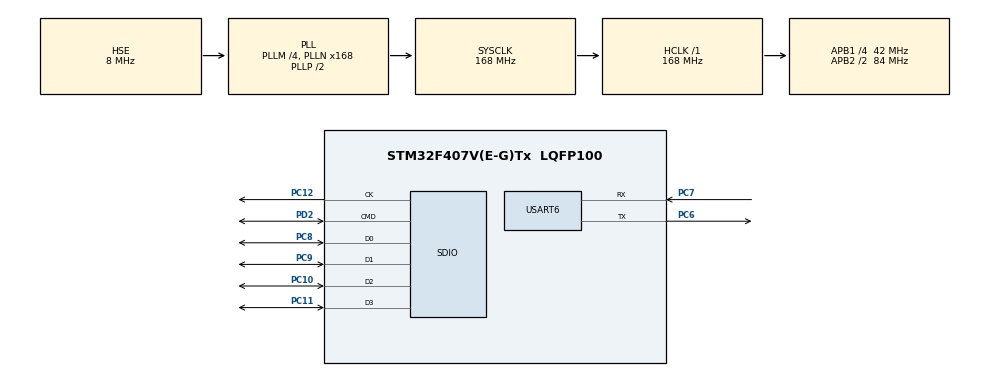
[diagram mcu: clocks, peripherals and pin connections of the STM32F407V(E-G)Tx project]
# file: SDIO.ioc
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Dma.Request0=SDIO_RX
Dma.Request1=SDIO_TX
Dma.SDIO_RX.0.Direction=DMA_PERIPH_TO_MEMORY
Dma.SDIO_RX.0.FIFOMode=DMA_FIFOMODE_ENABLE
Dma.SDIO_RX.0.FIFOThreshold=DMA_FIFO_THRESHOLD_FULL
Dma.SDIO_RX.0.Instance=DMA2_Stream3
Dma.SDIO_RX.0.MemBurst=DMA_MBURST_INC4
Dma.SDIO_RX.0.MemDataAlignment=DMA_MDATAALIGN_WORD
Dma.SDIO_RX.0.MemInc=DMA_MINC_ENABLE
Dma.SDIO_RX.0.Mode=DMA_PFCTRL
Dma.SDIO_RX.0.PeriphBurst=DMA_PBURST_INC4
Dma.SDIO_RX.0.PeriphDataAlignment=DMA_PDATAALIGN_WORD
Dma.SDIO_RX.0.PeriphInc=DMA_PINC_DISABLE
Dma.SDIO_RX.0.Priority=DMA_PRIORITY_LOW
Dma.SDIO_TX.1.Direction=DMA_MEMORY_TO_PERIPH
Dma.SDIO_TX.1.FIFOMode=DMA_FIFOMODE_ENABLE
Dma.SDIO_TX.1.FIFOThreshold=DMA_FIFO_THRESHOLD_FULL
Dma.SDIO_TX.1.Instance=DMA2_Stream6
Dma.SDIO_TX.1.MemBurst=DMA_MBURST_INC4
Dma.SDIO_TX.1.MemDataAlignment=DMA_MDATAALIGN_WORD
Dma.SDIO_TX.1.MemInc=DMA_MINC_ENABLE
Dma.SDIO_TX.1.Mode=DMA_PFCTRL
Dma.SDIO_TX.1.PeriphBurst=DMA_PBURST_INC4
Dma.SDIO_TX.1.PeriphDataAlignment=DMA_PDATAALIGN_WORD
Dma.SDIO_TX.1.PeriphInc=DMA_PINC_DISABLE
Dma.SDIO_TX.1.Priority=DMA_PRIORITY_LOW
FATFS.USE_DMA_CODE_SD=1
FATFS._MAX_SS=4096
Mcu.Family=STM32F4
Mcu.Name=STM32F407V(E-G)Tx
Mcu.Package=LQFP100
NVIC.DMA2_Stream3_IRQn=true\:0\:0\:false\:false\:true\:false\:true
NVIC.DMA2_Stream6_IRQn=true\:0\:0\:false\:false\:true\:false\:true
NVIC.PriorityGroup=NVIC_PRIORITYGROUP_4
NVIC.SDIO_IRQn=true\:0\:0\:false\:false\:true\:true\:true
NVIC.TIM8_TRG_COM_TIM14_IRQn=true\:15\:0\:false\:false\:true\:false\:true
NVIC.TimeBase=TIM8_TRG_COM_TIM14_IRQn
NVIC.TimeBaseIP=TIM14
PA13.Mode=Serial_Wire
PA13.Signal=SYS_JTMS-SWDIO
PA14.Mode=Serial_Wire
PA14.Signal=SYS_JTCK-SWCLK
PC10.GPIO_PuPd=GPIO_PULLUP
PC10.Mode=SD_4_bits_Wide_bus
PC10.Signal=SDIO_D2
PC11.GPIO_PuPd=GPIO_PULLUP
PC11.Mode=SD_4_bits_Wide_bus
PC11.Signal=SDIO_D3
PC12.GPIO_PuPd=GPIO_NOPULL
PC12.Mode=SD_4_bits_Wide_bus
PC12.Signal=SDIO_CK
PC6.Mode=Asynchronous
PC6.Signal=USART6_TX
PC7.Mode=Asynchronous
PC7.Signal=USART6_RX
PC8.GPIO_PuPd=GPIO_PULLUP
PC8.Mode=SD_4_bits_Wide_bus
PC8.Signal=SDIO_D0
PC9.GPIO_PuPd=GPIO_PULLUP
PC9.Mode=SD_4_bits_Wide_bus
PC9.Signal=SDIO_D1
PD2.GPIO_PuPd=GPIO_PULLUP
PD2.Mode=SD_4_bits_Wide_bus
PD2.Signal=SDIO_CMD
PH0-OSC_IN.Mode=HSE-External-Oscillator
PH0-OSC_IN.Signal=RCC_OSC_IN
PH1-OSC_OUT.Mode=HSE-External-Oscillator
PH1-OSC_OUT.Signal=RCC_OSC_OUT
ProjectManager.HeapSize=0x200
ProjectManager.StackSize=0x400
ProjectManager.TargetToolchain=STM32CubeIDE
RCC.48MHZClocksFreq_Value=48000000
RCC.AHBFreq_Value=168000000
RCC.APB1CLKDivider=RCC_HCLK_DIV4
RCC.APB1Freq_Value=42000000
RCC.APB1TimFreq_Value=84000000
RCC.APB2CLKDivider=RCC_HCLK_DIV2
RCC.APB2Freq_Value=84000000
RCC.APB2TimFreq_Value=168000000
RCC.CortexFreq_Value=168000000
RCC.HCLKFreq_Value=168000000
RCC.HSE_VALUE=8000000
RCC.HSI_VALUE=16000000
RCC.LSE_VALUE=32768
RCC.PLLM=4
RCC.PLLN=168
RCC.PLLQ=7
RCC.PLLSourceVirtual=RCC_PLLSOURCE_HSE
RCC.SYSCLKFreq_VALUE=168000000
RCC.SYSCLKSource=RCC_SYSCLKSOURCE_PLLCLK
RCC.VCOOutputFreq_Value=336000000
SDIO.ClockDiv=5
USART6.VirtualMode=VM_ASYNC
VP_FATFS_VS_SDIO.Mode=SDIO
VP_SYS_VS_tim14.Mode=TIM14
board=custom

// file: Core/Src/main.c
/* USER CODE BEGIN Header */
/**
 ******************************************************************************
 * @file           : main.c
 * @brief          : Main program body
 ******************************************************************************
 * @attention
 *
 * Copyright (c) 2022 STMicroelectronics.
 * All rights reserved.
 *
 * This software is licensed under terms that can be found in the LICENSE file
 * in the root directory of this software component.
 * If no LICENSE file comes with this software, it is provided AS-IS.
 *
 ******************************************************************************
 */
/* USER CODE END Header */
#include "main.h"
#include "fatfs.h"

/* USER CODE BEGIN Includes */
#include <stdio.h>/* для printf */
#include <string.h>
#include "zerg_sdio.h" /*Моя SDIO библиотека*/

char path[20] = "0:";				 // Путь к SD карте после форматирования
const char *name = "TEST.TXT";		 // Имя будущего файла
char *folder_name = "STM32";	 // Имя будущего папки
/* USER CODE END Includes */

SD_HandleTypeDef hsd;
DMA_HandleTypeDef hdma_sdio_rx;
DMA_HandleTypeDef hdma_sdio_tx;

UART_HandleTypeDef huart6;

void SystemClock_Config(void);
static void MX_GPIO_Init(void);
static void MX_DMA_Init(void);
static void MX_SDIO_SD_Init(void);
static void MX_USART6_UART_Init(void);
/* USER CODE BEGIN PFP */
int _write(int file, char *ptr, int len) {
	int i;
	HAL_UART_Transmit(&huart6, (uint8_t*) ptr, len, 50);
	for (i = 0; i < len; i++) {
		ITM_SendChar(*ptr++);
	}
	return len;
}
/* USER CODE END PFP */

int main(void)
{

  /* MCU Configuration--------------------------------------------------------*/

  /* Reset of all peripherals, Initializes the Flash interface and the Systick. */
  HAL_Init();

  /* Configure the system clock */
  SystemClock_Config();

  /* Initialize all configured peripherals */
  MX_GPIO_Init();
  MX_DMA_Init();
  MX_SDIO_SD_Init();
  MX_FATFS_Init();
  MX_USART6_UART_Init();

  /* Infinite loop */
  /* USER CODE BEGIN WHILE */
	 zerg_mount();
	 zerg_format();
	 zerg_creat_folder(folder_name);
	 zerg_open();
	 zerg_write();
	 zerg_read();

	 for (int i=0;i<=10;i++){
	 zerg_add_data();
	 }
	 zerg_read();
	 zerg_get_free_space(); // Узнаем свободное место до удаления
	 //zerg_scan_files(path);    // НЕ ВИДИТ ФАЙЛЫ!!!, РАЗБЕРИСЬ!!!
	 //zerg_delete(folder_name); // Удаляем папку "folder_name" или файл "name"
	 zerg_get_free_space(); // Узнаем свободное место после удаления
	 zerg_get_file_info(name);
	 zerg_ummount(path);

	while (1) {

    /* USER CODE END WHILE */

	}
}

void SystemClock_Config(void)
{
  RCC_OscInitTypeDef RCC_OscInitStruct = {0};
  RCC_ClkInitTypeDef RCC_ClkInitStruct = {0};

  /** Configure the main internal regulator output voltage
  */
  __HAL_RCC_PWR_CLK_ENABLE();
  __HAL_PWR_VOLTAGESCALING_CONFIG(PWR_REGULATOR_VOLTAGE_SCALE1);
  /** Initializes the RCC Oscillators according to the specified parameters
  * in the RCC_OscInitTypeDef structure.
  */
  RCC_OscInitStruct.OscillatorType = RCC_OSCILLATORTYPE_HSE;
  RCC_OscInitStruct.HSEState = RCC_HSE_ON;
  RCC_OscInitStruct.PLL.PLLState = RCC_PLL_ON;
  RCC_OscInitStruct.PLL.PLLSource = RCC_PLLSOURCE_HSE;
  RCC_OscInitStruct.PLL.PLLM = 4;
  RCC_OscInitStruct.PLL.PLLN = 168;
  RCC_OscInitStruct.PLL.PLLP = RCC_PLLP_DIV2;
  RCC_OscInitStruct.PLL.PLLQ = 7;
  if (HAL_RCC_OscConfig(&RCC_OscInitStruct) != HAL_OK)
  {
    Error_Handler();
  }
  /** Initializes the CPU, AHB and APB buses clocks
  */
  RCC_ClkInitStruct.ClockType = RCC_CLOCKTYPE_HCLK|RCC_CLOCKTYPE_SYSCLK
                              |RCC_CLOCKTYPE_PCLK1|RCC_CLOCKTYPE_PCLK2;
  RCC_ClkInitStruct.SYSCLKSource = RCC_SYSCLKSOURCE_PLLCLK;
  RCC_ClkInitStruct.AHBCLKDivider = RCC_SYSCLK_DIV1;
  RCC_ClkInitStruct.APB1CLKDivider = RCC_HCLK_DIV4;
  RCC_ClkInitStruct.APB2CLKDivider = RCC_HCLK_DIV2;

  if (HAL_RCC_ClockConfig(&RCC_ClkInitStruct, FLASH_LATENCY_5) != HAL_OK)
  {
    Error_Handler();
  }
}

static void MX_SDIO_SD_Init(void)
{

  hsd.Instance = SDIO;
  hsd.Init.ClockEdge = SDIO_CLOCK_EDGE_RISING;
  hsd.Init.ClockBypass = SDIO_CLOCK_BYPASS_DISABLE;
  hsd.Init.ClockPowerSave = SDIO_CLOCK_POWER_SAVE_DISABLE;
  hsd.Init.BusWide = SDIO_BUS_WIDE_1B;
  hsd.Init.HardwareFlowControl = SDIO_HARDWARE_FLOW_CONTROL_DISABLE;
  hsd.Init.ClockDiv = 5;

}

static void MX_USART6_UART_Init(void)
{

  huart6.Instance = USART6;
  huart6.Init.BaudRate = 115200;
  huart6.Init.WordLength = UART_WORDLENGTH_8B;
  huart6.Init.StopBits = UART_STOPBITS_1;
  huart6.Init.Parity = UART_PARITY_NONE;
  huart6.Init.Mode = UART_MODE_TX_RX;
  huart6.Init.HwFlowCtl = UART_HWCONTROL_NONE;
  huart6.Init.OverSampling = UART_OVERSAMPLING_16;
  if (HAL_UART_Init(&huart6) != HAL_OK)
  {
    Error_Handler();
  }

}

static void MX_DMA_Init(void)
{

  /* DMA controller clock enable */
  __HAL_RCC_DMA2_CLK_ENABLE();

  /* DMA interrupt init */
  /* DMA2_Stream3_IRQn interrupt configuration */
  HAL_NVIC_SetPriority(DMA2_Stream3_IRQn, 0, 0);
  HAL_NVIC_EnableIRQ(DMA2_Stream3_IRQn);
  /* DMA2_Stream6_IRQn interrupt configuration */
  HAL_NVIC_SetPriority(DMA2_Stream6_IRQn, 0, 0);
  HAL_NVIC_EnableIRQ(DMA2_Stream6_IRQn);

}

static void MX_GPIO_Init(void)
{

  /* GPIO Ports Clock Enable */
  __HAL_RCC_GPIOH_CLK_ENABLE();
  __HAL_RCC_GPIOC_CLK_ENABLE();
  __HAL_RCC_GPIOA_CLK_ENABLE();
  __HAL_RCC_GPIOD_CLK_ENABLE();

}

void HAL_TIM_PeriodElapsedCallback(TIM_HandleTypeDef *htim)
{
  if (htim->Instance == TIM14) {
    HAL_IncTick();
  }
}

void Error_Handler(void)
{
	__disable_irq();
	while (1) {
	}
}
